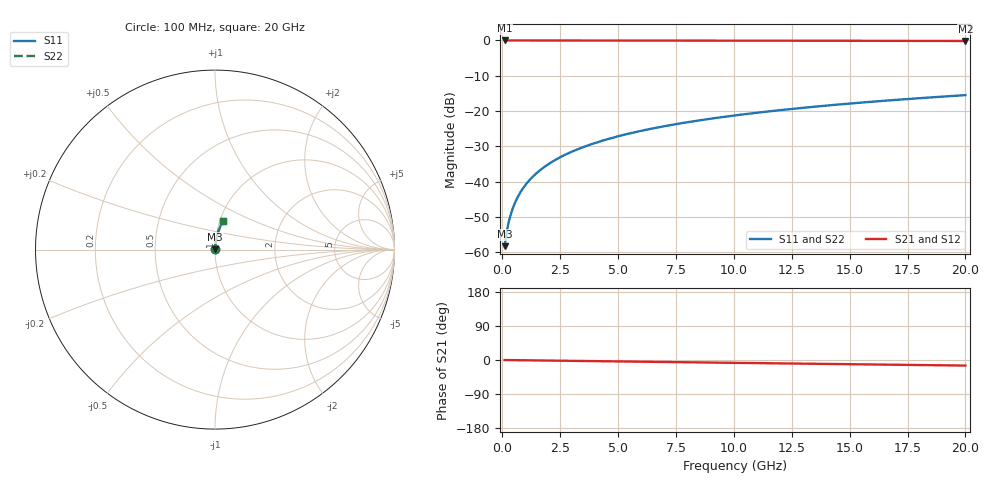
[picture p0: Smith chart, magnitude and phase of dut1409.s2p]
! Touchstone file exported from HFSS 2026.1.0
!  File:  C:/ffzhzh/LocalFiles/Ansys_Project_Files/temp_train_BSMRDL_1409_1783180025_43440.aedt
!  Generated:  11:48:17 PM Jul  4, 2026
!  Design:  BSMRDL
!  Project:  temp_train_BSMRDL_1409_1783180025_43440
! Variables:
!  h_bsmrdl = 4.25um
!  h_ox = 20um
!  h_rdl = 5um
!  h_sub = 80um
!  h_tmrdl = 5um
!  h_tsv = 80um
!  h_via = 3um
!  l_bsmrdl = 155.32um
!  l_sub = 555.32um
!  l_tmrdl = 200um
!  m_sub = 200um
!  pitch = 57.09um
!  r_tsv = 6um
!  s_tmrdl = 10um
!  w_bsmrdl = 21.69um
!  w_sub = 500um
!  w_tmrdl = 12um
!  x_tsv_center1 = 206um
!  x_tsv_center2 = 383.01um
!  x_tsv_center3 = 595.01um
!  x_tsv_center4 = 772.02um
!  x_tsv_center5 = 984.02um
!  x_tsv_center6 = 1161.03um
# GHz S MA R 50.000000
! Terminal data exported
! Port[1] = BSM_RDL1_1_T1
! Port[2] = BSM_RDL1_1_T2
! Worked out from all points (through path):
!   200 points, 100 MHz to 20 GHz, reference 50 ohm
!   highest |S21| = -0.01 dB at 100 MHz (marker M1); lowest = -0.2 dB at 20 GHz (marker M2)
!   group delay of S21, straight-line fit = 2.04 ps
!   lowest |S11| = -58.3 dB at 100 MHz (marker M3), VSWR 1.00, Z = 50.1 + j0.0939 ohm
!   |S11| at or under -10 dB: start of sweep to end of sweep
!   |S22| runs from -58.3 to -15.5 dB; largest |S21 - S12| = 3.5e-15
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0.1  0.001218 50.3  0.9992 -0.1  0.9992 -0.1  0.001218 50.3
! Gamma 0 0 0 0
! Port Impedance 50 0 50 0
0.2  0.002024 66.2  0.9992 -0.2  0.9992 -0.2  0.002024 66.2
0.3  0.002874 72.6  0.9991 -0.2  0.9991 -0.2  0.002874 72.6
0.4  0.003734 76.2  0.9991 -0.3  0.9991 -0.3  0.003734 76.2
0.5  0.004598 78.4  0.9991 -0.4  0.9991 -0.4  0.004598 78.4
0.7  0.006338 81.1  0.9991 -0.5  0.9991 -0.5  0.006338 81.1
0.8  0.007212 82.0  0.999 -0.6  0.999 -0.6  0.007212 82.0
1  0.008966 83.1  0.999 -0.8  0.999 -0.8  0.008966 83.1
1.2  0.01072 83.9  0.999 -0.9  0.999 -0.9  0.01072 83.9
1.4  0.01248 84.3  0.9989 -1.1  0.9989 -1.1  0.01248 84.3
1.7  0.01512 84.8  0.9988 -1.3  0.9988 -1.3  0.01512 84.8
2  0.01776 85.0  0.9988 -1.5  0.9988 -1.5  0.01776 85.0
2.7  0.0239 85.1  0.9985 -2.0  0.9985 -2.0  0.0239 85.1
3.5  0.03088 84.9  0.9982 -2.6  0.9982 -2.6  0.03088 84.9
4.2  0.03696 84.5  0.9978 -3.2  0.9978 -3.2  0.03696 84.5
5  0.04386 84.1  0.9974 -3.8  0.9974 -3.8  0.04386 84.1
6.8  0.05926 82.9  0.9962 -5.1  0.9962 -5.1  0.05926 82.9
8.3  0.07197 82.0  0.9951 -6.2  0.9951 -6.2  0.07197 82.0
10.1  0.0871 80.8  0.9936 -7.5  0.9936 -7.5  0.0871 80.8
13.4  0.1145 78.6  0.9904 -9.9  0.9904 -9.9  0.1145 78.6
16.7  0.1414 76.3  0.9866 -12.3  0.9866 -12.3  0.1414 76.3
20  0.1679 74.0  0.9822 -14.7  0.9822 -14.7  0.1679 74.0
